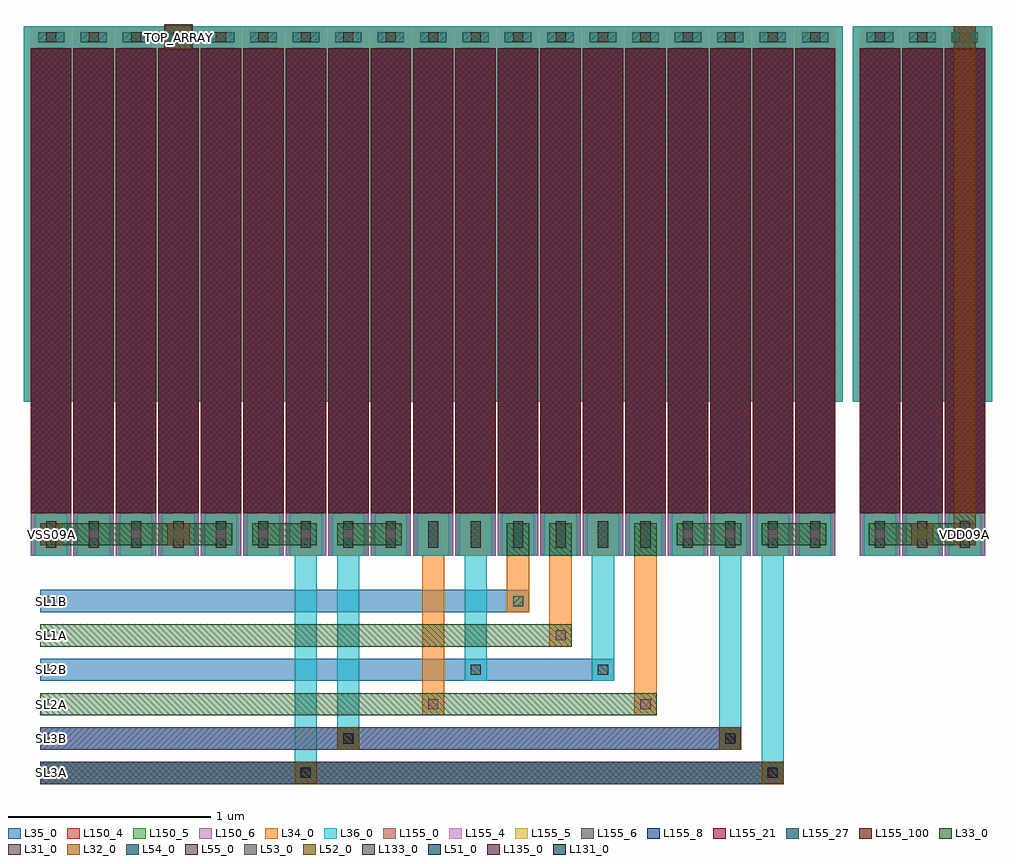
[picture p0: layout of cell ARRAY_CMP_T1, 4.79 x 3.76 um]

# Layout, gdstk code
from math import pi, radians
import gdstk
lib = gdstk.Library(unit=1e-6, precision=1e-09)
def R(c, l, rs):  # rectangles x0, y0, x1, y1
    for r in rs: c.add(gdstk.rectangle(r[:2], r[2:], *l))
def A(c, l, x, y, w, h, nx, ny, dx, dy):  # array of equal rectangles
    R(c, l, [(x+i*dx, y+j*dy, x+i*dx+w, y+j*dy+h) for i in range(nx) for j in range(ny)])
L31_0 = (31, 0)
L32_0 = (32, 0)
L33_0 = (33, 0)
L34_0 = (34, 0)
L35_0 = (35, 0)
L36_0 = (36, 0)
L51_0 = (51, 0)
L52_0 = (52, 0)
L53_0 = (53, 0)
L54_0 = (54, 0)
L55_0 = (55, 0)
L131_0 = (131, 0)
L133_0 = (133, 0)
L135_0 = (135, 0)
L150_4 = (150, 4)
L150_5 = (150, 5)
L150_6 = (150, 6)
L155_0 = (155, 0)
L155_4 = (155, 4)
L155_5 = (155, 5)
L155_6 = (155, 6)
L155_8 = (155, 8)
L155_21 = (155, 21)
L155_27 = (155, 27)
L155_100 = (155, 100)

m5_m4_cdns_622278258568 = lib.new_cell('M5_M4_CDNS_622278258568')
R(m5_m4_cdns_622278258568, L34_0, [(-0.07,-0.105,0.07,0.105)])
R(m5_m4_cdns_622278258568, L35_0, [(-0.07,-0.105,0.07,0.105)])
R(m5_m4_cdns_622278258568, L54_0, [(-0.025,-0.065,0.025,0.065)])

m6_m5_cdns_622278258569 = lib.new_cell('M6_M5_CDNS_622278258569')
R(m6_m5_cdns_622278258569, L35_0, [(-0.07,-0.105,0.07,0.105)])
R(m6_m5_cdns_622278258569, L36_0, [(-0.055,-0.105,0.055,0.105)])
R(m6_m5_cdns_622278258569, L55_0, [(-0.025,-0.065,0.025,0.065)])

m5_m4_cdns_6222782585610 = lib.new_cell('M5_M4_CDNS_6222782585610')
R(m5_m4_cdns_6222782585610, L34_0, [(-0.095,-0.055,0.095,0.055)])
R(m5_m4_cdns_6222782585610, L35_0, [(-0.12,-0.055,0.12,0.055)])
R(m5_m4_cdns_6222782585610, L54_0, [(-0.065,-0.025,0.065,0.025)])

m6_m5_cdns_622278258566 = lib.new_cell('M6_M5_CDNS_622278258566')
R(m6_m5_cdns_622278258566, L35_0, [(-0.055,-0.055,0.055,0.055)])
R(m6_m5_cdns_622278258566, L36_0, [(-0.055,-0.055,0.055,0.055)])
R(m6_m5_cdns_622278258566, L55_0, [(-0.025,-0.025,0.025,0.025)])

cu1f = lib.new_cell('CU1F')
R(cu1f, L34_0, [(0.02,0,0.18,0.21), (-0.035,2.51,0.235,2.62)])
R(cu1f, L35_0, [(0.02,0,0.18,0.21), (-0.035,2.51,0.235,2.62)])
R(cu1f, L36_0, [(0.02,0,0.18,0.21), (-0.035,2.51,0.235,2.62)])
R(cu1f, L150_4, [(0,0,0.2,2.62)])
R(cu1f, L150_5, [(0,0,0.2,2.62)])
R(cu1f, L150_6, [(0,0,0.2,2.62)])
R(cu1f, L155_0, [(0,0.21,0.2,2.51)])
R(cu1f, L155_4, [(0,0.21,0.2,2.51)])
R(cu1f, L155_5, [(0,0.21,0.2,2.51)])
R(cu1f, L155_6, [(0,0.21,0.2,2.51)])
R(cu1f, L155_8, [(0,0.21,0.2,2.51)])
R(cu1f, L155_21, [(0,0.21,0.2,2.51)])
R(cu1f, L155_27, [(0,0.21,0.2,2.51)])
R(cu1f, L155_100, [(0,0.21,0.2,2.51)])
cu1f.add(gdstk.FlexPath([(0.205,2.59),(0.205,0.76)], 0.06, ends=(0.03, 0), simple_path=True, layer=34, datatype=0))  # L34_0
cu1f.add(gdstk.FlexPath([(0.1,2.41),(0.1,0)], 0.05, ends="flush", simple_path=True, layer=34, datatype=0))  # L34_0
cu1f.add(gdstk.FlexPath([(-0.005,2.59),(-0.005,0.76)], 0.06, ends=(0.03, 0), simple_path=True, layer=34, datatype=0))  # L34_0
cu1f.add(gdstk.FlexPath([(0.205,0.76),(0.205,2.59)], 0.06, ends=(0, 0.03), simple_path=True, layer=35, datatype=0))  # L35_0
cu1f.add(gdstk.FlexPath([(0.1,2.41),(0.1,0)], 0.05, ends="flush", simple_path=True, layer=35, datatype=0))  # L35_0
cu1f.add(gdstk.FlexPath([(-0.005,0.76),(-0.005,2.59)], 0.06, ends=(0, 0.03), simple_path=True, layer=35, datatype=0))  # L35_0
cu1f.add(gdstk.FlexPath([(0.205,0.76),(0.205,2.59)], 0.06, ends=(0, 0.03), simple_path=True, layer=36, datatype=0))  # L36_0
cu1f.add(gdstk.FlexPath([(0.1,2.41),(0.1,0)], 0.05, ends="flush", simple_path=True, layer=36, datatype=0))  # L36_0
cu1f.add(gdstk.FlexPath([(-0.005,0.76),(-0.005,2.59)], 0.06, ends=(0, 0.03), simple_path=True, layer=36, datatype=0))  # L36_0
cu1f.add(gdstk.Reference(m5_m4_cdns_622278258568, (0.1,0.105), rotation=pi, x_reflection=True))
cu1f.add(gdstk.Reference(m6_m5_cdns_622278258569, (0.1,0.105), rotation=pi, x_reflection=True))
cu1f.add(gdstk.Reference(m5_m4_cdns_6222782585610, (0.1,2.565)))
cu1f.add(gdstk.Reference(m6_m5_cdns_622278258566, (0.1,2.565)))

m2_m1_cdns_622278258560 = lib.new_cell('M2_M1_CDNS_622278258560')
R(m2_m1_cdns_622278258560, L31_0, [(-0.055,-0.055,0.055,0.055)])
R(m2_m1_cdns_622278258560, L32_0, [(-0.055,-0.055,0.055,0.055)])
R(m2_m1_cdns_622278258560, L51_0, [(-0.025,-0.025,0.025,0.025)])

m3_m2_cdns_622278258561 = lib.new_cell('M3_M2_CDNS_622278258561')
R(m3_m2_cdns_622278258561, L32_0, [(-0.055,-0.055,0.055,0.055)])
R(m3_m2_cdns_622278258561, L33_0, [(-0.055,-0.055,0.055,0.055)])
R(m3_m2_cdns_622278258561, L52_0, [(-0.025,-0.025,0.025,0.025)])

m4_m3_cdns_622278258562 = lib.new_cell('M4_M3_CDNS_622278258562')
R(m4_m3_cdns_622278258562, L33_0, [(-0.055,-0.055,0.055,0.055)])
R(m4_m3_cdns_622278258562, L34_0, [(-0.055,-0.055,0.055,0.055)])
R(m4_m3_cdns_622278258562, L53_0, [(-0.025,-0.025,0.025,0.025)])

m4_m3_cdns_622278258563 = lib.new_cell('M4_M3_CDNS_622278258563')
R(m4_m3_cdns_622278258563, L33_0, [(-0.07,-0.065,0.07,0.065)])
R(m4_m3_cdns_622278258563, L34_0, [(-0.055,-0.055,0.055,0.055)])
R(m4_m3_cdns_622278258563, L53_0, [(-0.025,-0.025,0.025,0.025)])

m3_m2_cdns_622278258564 = lib.new_cell('M3_M2_CDNS_622278258564')
R(m3_m2_cdns_622278258564, L32_0, [(-0.065,-0.06,0.065,0.06)])
R(m3_m2_cdns_622278258564, L33_0, [(-0.07,-0.065,0.07,0.065)])
R(m3_m2_cdns_622278258564, L52_0, [(-0.025,-0.025,0.025,0.025)])

m2_m1_cdns_622278258565 = lib.new_cell('M2_M1_CDNS_622278258565')
R(m2_m1_cdns_622278258565, L31_0, [(-0.055,-0.055,0.055,0.055)])
R(m2_m1_cdns_622278258565, L32_0, [(-0.065,-0.06,0.065,0.06)])
R(m2_m1_cdns_622278258565, L51_0, [(-0.025,-0.025,0.025,0.025)])

m5_m4_cdns_622278258567 = lib.new_cell('M5_M4_CDNS_622278258567')
R(m5_m4_cdns_622278258567, L34_0, [(-0.055,-0.055,0.055,0.055)])
R(m5_m4_cdns_622278258567, L35_0, [(-0.055,-0.055,0.055,0.055)])
R(m5_m4_cdns_622278258567, L54_0, [(-0.025,-0.025,0.025,0.025)])

array_cmp_t1 = lib.new_cell('ARRAY_CMP_T1')
R(array_cmp_t1, L31_0, [(-0.055,-1.13,3.625,-1.02), (-0.055,-0.96,3.415,-0.85), (0.56,2.5,0.7,2.63)])
R(array_cmp_t1, L32_0, [(4.465,0.05,4.575,2.62)])
R(array_cmp_t1, L33_0, [(-0.055,-1.13,3.625,-1.02), (-0.055,-0.79,2.995,-0.68), (-0.055,-0.45,2.575,-0.34), (2.255,0,2.365,0.16), (2.465,0,2.575,0.16), (2.885,0,2.995,0.16), (-0.055,0.05,0.895,0.16), (0.995,0.05,1.315,0.16), (1.415,0.05,1.735,0.16), (3.095,0.05,3.415,0.16), (3.515,0.05,3.835,0.16), (4.045,0.05,4.575,0.16), (4.465,2.51,4.575,2.62)])
R(array_cmp_t1, L34_0, [(1.835,-0.79,1.945,0.16), (2.885,-0.79,2.995,0.16), (2.465,-0.45,2.575,0.16), (2.255,-0.28,2.365,0.16)])
R(array_cmp_t1, L35_0, [(-0.055,-1.13,3.625,-1.02), (-0.055,-0.96,3.415,-0.85), (-0.055,-0.62,2.785,-0.51), (-0.055,-0.28,2.365,-0.17)])
R(array_cmp_t1, L36_0, [(1.205,-1.13,1.315,0.16), (3.515,-1.13,3.625,0.16), (1.415,-0.96,1.525,0.16), (3.305,-0.96,3.415,0.16), (2.045,-0.62,2.155,0.16), (2.675,-0.62,2.785,0.16)])
R(array_cmp_t1, L131_0, [(0.605,2.54,0.655,2.59)])
A(array_cmp_t1, L133_0, -0.025, -1.1, 0.05, 0.05, 1, 3, 0, 0.34)
R(array_cmp_t1, L133_0, [(-0.025,0.08,0.025,0.13), (4.495,0.08,4.545,0.13)])
A(array_cmp_t1, L135_0, -0.025, -0.93, 0.05, 0.05, 1, 3, 0, 0.34)
array_cmp_t1.add(gdstk.Reference(cu1f, (4,0)))
array_cmp_t1.add(gdstk.Reference(cu1f, (4.21,0)))
array_cmp_t1.add(gdstk.Reference(cu1f, (0.53,0)))
array_cmp_t1.add(gdstk.Reference(cu1f, (0.74,0)))
array_cmp_t1.add(gdstk.Reference(cu1f, (4.42,0)))
array_cmp_t1.add(gdstk.Reference(cu1f, (0.32,0)))
array_cmp_t1.add(gdstk.Reference(cu1f, (0.11,0)))
array_cmp_t1.add(gdstk.Reference(cu1f, (-0.1,0)))
array_cmp_t1.add(gdstk.Reference(cu1f, (3.68,0)))
array_cmp_t1.add(gdstk.Reference(cu1f, (3.47,0)))
array_cmp_t1.add(gdstk.Reference(cu1f, (3.26,0)))
array_cmp_t1.add(gdstk.Reference(cu1f, (3.05,0)))
array_cmp_t1.add(gdstk.Reference(cu1f, (2.84,0)))
array_cmp_t1.add(gdstk.Reference(cu1f, (2.63,0)))
array_cmp_t1.add(gdstk.Reference(cu1f, (2.42,0)))
array_cmp_t1.add(gdstk.Reference(cu1f, (2.21,0)))
array_cmp_t1.add(gdstk.Reference(cu1f, (2,0)))
array_cmp_t1.add(gdstk.Reference(cu1f, (1.79,0)))
array_cmp_t1.add(gdstk.Reference(cu1f, (1.58,0)))
array_cmp_t1.add(gdstk.Reference(cu1f, (1.37,0)))
array_cmp_t1.add(gdstk.Reference(cu1f, (1.16,0)))
array_cmp_t1.add(gdstk.Reference(cu1f, (0.95,0)))
array_cmp_t1.add(gdstk.Reference(m2_m1_cdns_622278258560, (3.36,-0.905)))
array_cmp_t1.add(gdstk.Reference(m2_m1_cdns_622278258560, (1.26,-1.075)))
array_cmp_t1.add(gdstk.Reference(m2_m1_cdns_622278258560, (3.57,-1.075)))
array_cmp_t1.add(gdstk.Reference(m2_m1_cdns_622278258560, (1.47,-0.905)))
array_cmp_t1.add(gdstk.Reference(m3_m2_cdns_622278258561, (4.52,2.565)))
array_cmp_t1.add(gdstk.Reference(m3_m2_cdns_622278258561, (1.26,-1.075)))
array_cmp_t1.add(gdstk.Reference(m3_m2_cdns_622278258561, (3.57,-1.075)))
array_cmp_t1.add(gdstk.Reference(m3_m2_cdns_622278258561, (1.47,-0.905)))
array_cmp_t1.add(gdstk.Reference(m3_m2_cdns_622278258561, (4.52,0.105)))
array_cmp_t1.add(gdstk.Reference(m3_m2_cdns_622278258561, (0,0.105)))
array_cmp_t1.add(gdstk.Reference(m3_m2_cdns_622278258561, (0.63,0.105)))
array_cmp_t1.add(gdstk.Reference(m3_m2_cdns_622278258561, (4.31,0.105)))
array_cmp_t1.add(gdstk.Reference(m3_m2_cdns_622278258561, (3.36,-0.905)))
array_cmp_t1.add(gdstk.Reference(m4_m3_cdns_622278258562, (4.52,2.565), rotation=pi, x_reflection=True))
array_cmp_t1.add(gdstk.Reference(m4_m3_cdns_622278258562, (2.94,-0.735)))
array_cmp_t1.add(gdstk.Reference(m4_m3_cdns_622278258562, (1.26,-1.075)))
array_cmp_t1.add(gdstk.Reference(m4_m3_cdns_622278258562, (1.89,-0.735)))
array_cmp_t1.add(gdstk.Reference(m4_m3_cdns_622278258562, (1.68,0.105)))
array_cmp_t1.add(gdstk.Reference(m4_m3_cdns_622278258562, (1.47,-0.905)))
array_cmp_t1.add(gdstk.Reference(m4_m3_cdns_622278258562, (3.78,0.105)))
array_cmp_t1.add(gdstk.Reference(m4_m3_cdns_622278258562, (3.36,0.105)))
array_cmp_t1.add(gdstk.Reference(m4_m3_cdns_622278258562, (3.15,0.105)))
array_cmp_t1.add(gdstk.Reference(m4_m3_cdns_622278258562, (3.57,-1.075)))
array_cmp_t1.add(gdstk.Reference(m4_m3_cdns_622278258562, (4.52,0.105)))
array_cmp_t1.add(gdstk.Reference(m4_m3_cdns_622278258562, (0.21,0.105)))
array_cmp_t1.add(gdstk.Reference(m4_m3_cdns_622278258562, (0.42,0.105)))
array_cmp_t1.add(gdstk.Reference(m4_m3_cdns_622278258562, (0,0.105)))
array_cmp_t1.add(gdstk.Reference(m4_m3_cdns_622278258562, (0.84,0.105)))
array_cmp_t1.add(gdstk.Reference(m4_m3_cdns_622278258562, (0.63,0.105)))
array_cmp_t1.add(gdstk.Reference(m4_m3_cdns_622278258562, (4.1,0.105)))
array_cmp_t1.add(gdstk.Reference(m4_m3_cdns_622278258562, (4.31,0.105)))
array_cmp_t1.add(gdstk.Reference(m4_m3_cdns_622278258562, (1.26,0.105)))
array_cmp_t1.add(gdstk.Reference(m4_m3_cdns_622278258562, (2.52,-0.395)))
array_cmp_t1.add(gdstk.Reference(m4_m3_cdns_622278258562, (1.47,0.105)))
array_cmp_t1.add(gdstk.Reference(m4_m3_cdns_622278258562, (1.05,0.105)))
array_cmp_t1.add(gdstk.Reference(m4_m3_cdns_622278258562, (3.36,-0.905)))
array_cmp_t1.add(gdstk.Reference(m4_m3_cdns_622278258562, (3.57,0.105)))
array_cmp_t1.add(gdstk.Reference(m4_m3_cdns_622278258563, (0.63,2.565)))
array_cmp_t1.add(gdstk.Reference(m3_m2_cdns_622278258564, (0.63,2.565)))
array_cmp_t1.add(gdstk.Reference(m2_m1_cdns_622278258565, (0.63,2.565)))
array_cmp_t1.add(gdstk.Reference(m6_m5_cdns_622278258566, (3.57,-1.075)))
array_cmp_t1.add(gdstk.Reference(m6_m5_cdns_622278258566, (1.26,0.105)))
array_cmp_t1.add(gdstk.Reference(m6_m5_cdns_622278258566, (3.36,0.105)))
array_cmp_t1.add(gdstk.Reference(m6_m5_cdns_622278258566, (3.57,0.105)))
array_cmp_t1.add(gdstk.Reference(m6_m5_cdns_622278258566, (1.47,0.105)))
array_cmp_t1.add(gdstk.Reference(m6_m5_cdns_622278258566, (3.36,-0.905)))
array_cmp_t1.add(gdstk.Reference(m6_m5_cdns_622278258566, (2.1,-0.565)))
array_cmp_t1.add(gdstk.Reference(m6_m5_cdns_622278258566, (1.47,-0.905)))
array_cmp_t1.add(gdstk.Reference(m6_m5_cdns_622278258566, (2.73,-0.565)))
array_cmp_t1.add(gdstk.Reference(m6_m5_cdns_622278258566, (1.26,-1.075)))
array_cmp_t1.add(gdstk.Reference(m5_m4_cdns_622278258567, (1.26,0.105)))
array_cmp_t1.add(gdstk.Reference(m5_m4_cdns_622278258567, (2.31,-0.225)))
array_cmp_t1.add(gdstk.Reference(m5_m4_cdns_622278258567, (1.47,0.105)))
array_cmp_t1.add(gdstk.Reference(m5_m4_cdns_622278258567, (3.36,-0.905)))
array_cmp_t1.add(gdstk.Reference(m5_m4_cdns_622278258567, (3.57,-1.075)))
array_cmp_t1.add(gdstk.Reference(m5_m4_cdns_622278258567, (3.36,0.105)))
array_cmp_t1.add(gdstk.Reference(m5_m4_cdns_622278258567, (1.47,-0.905)))
array_cmp_t1.add(gdstk.Reference(m5_m4_cdns_622278258567, (3.57,0.105)))
array_cmp_t1.add(gdstk.Reference(m5_m4_cdns_622278258567, (1.26,-1.075)))
array_cmp_t1.add(gdstk.Label('SL3A', (0,-1.075), layer=135, texttype=0))
array_cmp_t1.add(gdstk.Label('SL3B', (0,-0.905), layer=135, texttype=0))
array_cmp_t1.add(gdstk.Label('SL1B', (0,-0.225), layer=135, texttype=0))
array_cmp_t1.add(gdstk.Label('SL2B', (0,-0.565), layer=135, texttype=0))
array_cmp_t1.add(gdstk.Label('SL1A', (0,-0.395), layer=133, texttype=0))
array_cmp_t1.add(gdstk.Label('VDD09A', (4.52,0.105), layer=133, texttype=0))
array_cmp_t1.add(gdstk.Label('SL2A', (0,-0.735), layer=133, texttype=0))
array_cmp_t1.add(gdstk.Label('VSS09A', (0,0.105), layer=133, texttype=0))
array_cmp_t1.add(gdstk.Label('TOP_ARRAY', (0.628,2.565), layer=131, texttype=0))

lib.write_gds('ARRAY_CMP_T1.gds')
